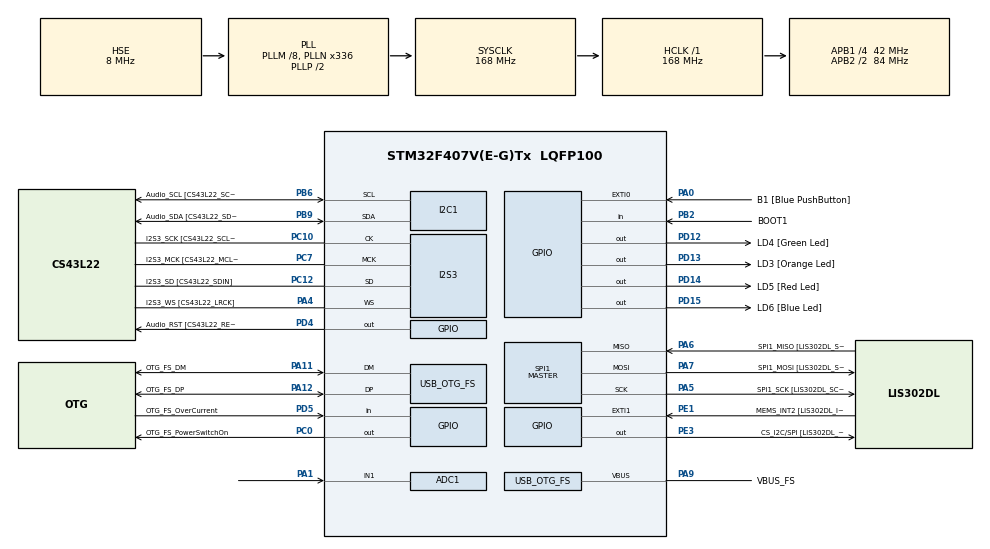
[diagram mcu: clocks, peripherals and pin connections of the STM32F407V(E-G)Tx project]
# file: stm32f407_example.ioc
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ADC1.Channel-1\#ChannelRegularConversion=ADC_CHANNEL_1
ADC1.NbrOfConversionFlag=1
ADC1.Rank-1\#ChannelRegularConversion=1
ADC1.SamplingTime-1\#ChannelRegularConversion=ADC_SAMPLETIME_3CYCLES
ADC1.master=1
I2S3.AudioFreq-Half_Duplex_Master=I2S_AUDIOFREQ_96K
I2S3.ErrorAudioFreq=-2.34 %
I2S3.ErrorAudioFreq-Half_Duplex_Master=0.8 %
I2S3.FullDuplexMode=I2S_FULLDUPLEXMODE_DISABLE
I2S3.Instance=SPI$Index
I2S3.RealAudioFreq=93.75 KHz
I2S3.RealAudioFreq-Half_Duplex_Master=96.774 KHz
I2S3.VirtualMode=I2S_MODE_MASTER
Mcu.Family=STM32F4
Mcu.Name=STM32F407V(E-G)Tx
Mcu.Package=LQFP100
NVIC.OTG_FS_IRQn=true\:0\:0\:false\:false\:true\:true\:true\:true
NVIC.PriorityGroup=NVIC_PRIORITYGROUP_0
PA0-WKUP.GPIO_Label=B1 [Blue PushButton]
PA0-WKUP.GPIO_ModeDefaultEXTI=GPIO_MODE_EVT_RISING
PA0-WKUP.GPIO_PuPd=GPIO_NOPULL
PA0-WKUP.Signal=GPXTI0
PA1.Signal=ADCx_IN1
PA10.GPIO_Label=OTG_FS_ID
PA10.GPIO_Mode=GPIO_MODE_AF_PP
PA10.GPIO_PuPd=GPIO_NOPULL
PA10.GPIO_Speed=GPIO_SPEED_FREQ_LOW
PA10.Signal=USB_OTG_FS_ID
PA11.GPIO_Label=OTG_FS_DM
PA11.GPIO_Mode=GPIO_MODE_AF_PP
PA11.GPIO_PuPd=GPIO_NOPULL
PA11.GPIO_Speed=GPIO_SPEED_FREQ_LOW
PA11.Mode=Host_Only
PA11.Signal=USB_OTG_FS_DM
PA12.GPIO_Label=OTG_FS_DP
PA12.GPIO_Mode=GPIO_MODE_AF_PP
PA12.GPIO_PuPd=GPIO_NOPULL
PA12.GPIO_Speed=GPIO_SPEED_FREQ_LOW
PA12.Mode=Host_Only
PA12.Signal=USB_OTG_FS_DP
PA13.GPIO_Label=SWDIO
PA13.Mode=Serial_Wire
PA13.Signal=SYS_JTMS-SWDIO
PA14.GPIO_Label=SWCLK
PA14.Mode=Serial_Wire
PA14.Signal=SYS_JTCK-SWCLK
PA4.GPIO_Label=I2S3_WS [CS43L22_LRCK]
PA4.GPIO_Mode=GPIO_MODE_AF_PP
PA4.GPIO_PuPd=GPIO_NOPULL
PA4.GPIO_Speed=GPIO_SPEED_FREQ_LOW
PA4.Mode=Half_Duplex_Master
PA4.Signal=I2S3_WS
PA5.GPIO_Label=SPI1_SCK [LIS302DL_SCL/SPC]
PA5.GPIO_Mode=GPIO_MODE_AF_PP
PA5.GPIO_PuPd=GPIO_NOPULL
PA5.GPIO_Speed=GPIO_SPEED_FREQ_LOW
PA5.Mode=Full_Duplex_Master
PA5.Signal=SPI1_SCK
PA6.GPIO_Label=SPI1_MISO [LIS302DL_SDO]
PA6.GPIO_Mode=GPIO_MODE_AF_PP
PA6.GPIO_PuPd=GPIO_NOPULL
PA6.GPIO_Speed=GPIO_SPEED_FREQ_LOW
PA6.Mode=Full_Duplex_Master
PA6.Signal=SPI1_MISO
PA7.GPIO_Label=SPI1_MOSI [LIS302DL_SDA/SDI/SDO]
PA7.GPIO_Mode=GPIO_MODE_AF_PP
PA7.GPIO_PuPd=GPIO_NOPULL
PA7.GPIO_Speed=GPIO_SPEED_FREQ_LOW
PA7.Mode=Full_Duplex_Master
PA7.Signal=SPI1_MOSI
PA9.GPIO_Label=VBUS_FS
PA9.GPIO_Mode=GPIO_MODE_INPUT
PA9.GPIO_PuPd=GPIO_NOPULL
PA9.Mode=Activate_VBUS
PA9.Signal=USB_OTG_FS_VBUS
PB10.GPIO_Label=CLK_IN [MP45DT02_CLK]
PB10.GPIO_Mode=GPIO_MODE_AF_PP
PB10.GPIO_PuPd=GPIO_NOPULL
PB10.GPIO_Speed=GPIO_SPEED_FREQ_LOW
PB10.Signal=I2S2_CK
PB2.GPIO_Label=BOOT1
PB2.GPIO_Mode=GPIO_MODE_INPUT
PB2.GPIO_PuPd=GPIO_NOPULL
PB2.Signal=GPIO_Input
PB3.GPIO_Label=SWO
PB3.Signal=SYS_JTDO-SWO
PB6.GPIO_Label=Audio_SCL [CS43L22_SCL]
PB6.GPIO_Mode=GPIO_MODE_AF_OD
PB6.GPIO_Pu=GPIO_PULLUP
PB6.GPIO_PuPd=GPIO_NOPULL
PB6.GPIO_Speed=GPIO_SPEED_FREQ_LOW
PB6.Mode=I2C
PB6.Signal=I2C1_SCL
PB9.GPIO_Label=Audio_SDA [CS43L22_SDA]
PB9.GPIO_Mode=GPIO_MODE_AF_OD
PB9.GPIO_Pu=GPIO_PULLUP
PB9.GPIO_PuPd=GPIO_NOPULL
PB9.GPIO_Speed=GPIO_SPEED_FREQ_LOW
PB9.Mode=I2C
PB9.Signal=I2C1_SDA
PC0.GPIO_Label=OTG_FS_PowerSwitchOn
PC0.GPIO_PuPd=GPIO_NOPULL
PC0.GPIO_Speed=GPIO_SPEED_FREQ_LOW
PC0.PinState=GPIO_PIN_SET
PC0.Signal=GPIO_Output
PC10.GPIO_Label=I2S3_SCK [CS43L22_SCLK]
PC10.GPIO_Mode=GPIO_MODE_AF_PP
PC10.GPIO_PuPd=GPIO_NOPULL
PC10.GPIO_Speed=GPIO_SPEED_FREQ_LOW
PC10.Mode=Half_Duplex_Master
PC10.Signal=I2S3_CK
PC12.GPIO_Label=I2S3_SD [CS43L22_SDIN]
PC12.GPIO_Mode=GPIO_MODE_AF_PP
PC12.GPIO_PuPd=GPIO_NOPULL
PC12.GPIO_Speed=GPIO_SPEED_FREQ_LOW
PC12.Mode=Half_Duplex_Master
PC12.Signal=I2S3_SD
PC14-OSC32_IN.GPIO_Label=PC14-OSC32_IN
PC14-OSC32_IN.Mode=LSE-External-Oscillator
PC14-OSC32_IN.Signal=RCC_OSC32_IN
PC15-OSC32_OUT.GPIO_Label=PC15-OSC32_OUT
PC15-OSC32_OUT.Mode=LSE-External-Oscillator
PC15-OSC32_OUT.Signal=RCC_OSC32_OUT
PC3.GPIO_Label=PDM_OUT [MP45DT02_DOUT]
PC3.GPIO_Mode=GPIO_MODE_AF_PP
PC3.GPIO_PuPd=GPIO_NOPULL
PC3.GPIO_Speed=GPIO_SPEED_FREQ_LOW
PC3.Signal=I2S2_SD
PC7.GPIO_Label=I2S3_MCK [CS43L22_MCLK]
PC7.GPIO_Mode=GPIO_MODE_AF_PP
PC7.GPIO_PuPd=GPIO_NOPULL
PC7.GPIO_Speed=GPIO_SPEED_FREQ_LOW
PC7.Mode=Master_Clock_Activated
PC7.Signal=I2S3_MCK
PD12.GPIO_Label=LD4 [Green Led]
PD12.GPIO_PuPd=GPIO_NOPULL
PD12.GPIO_Speed=GPIO_SPEED_FREQ_LOW
PD12.Signal=GPIO_Output
PD13.GPIO_Label=LD3 [Orange Led]
PD13.GPIO_PuPd=GPIO_NOPULL
PD13.GPIO_Speed=GPIO_SPEED_FREQ_LOW
PD13.Signal=GPIO_Output
PD14.GPIO_Label=LD5 [Red Led]
PD14.GPIO_PuPd=GPIO_NOPULL
PD14.GPIO_Speed=GPIO_SPEED_FREQ_LOW
PD14.Signal=GPIO_Output
PD15.GPIO_Label=LD6 [Blue Led]
PD15.GPIO_PuPd=GPIO_NOPULL
PD15.GPIO_Speed=GPIO_SPEED_FREQ_LOW
PD15.Signal=GPIO_Output
PD4.GPIO_Label=Audio_RST [CS43L22_RESET]
PD4.GPIO_PuPd=GPIO_NOPULL
PD4.GPIO_Speed=GPIO_SPEED_FREQ_LOW
PD4.Signal=GPIO_Output
PD5.GPIO_Label=OTG_FS_OverCurrent
PD5.GPIO_Mode=GPIO_MODE_INPUT
PD5.GPIO_PuPd=GPIO_NOPULL
PD5.Signal=GPIO_Input
PE1.GPIO_Label=MEMS_INT2 [LIS302DL_INT2]
PE1.GPIO_ModeDefaultEXTI=GPIO_MODE_EVT_RISING
PE1.GPIO_PuPd=GPIO_NOPULL
PE1.Signal=GPXTI1
PE3.GPIO_Label=CS_I2C/SPI [LIS302DL_CS_I2C/SPI]
PE3.GPIO_PuPd=GPIO_NOPULL
PE3.GPIO_Speed=GPIO_SPEED_FREQ_LOW
PE3.Signal=GPIO_Output
PH0-OSC_IN.GPIO_Label=PH0-OSC_IN
PH0-OSC_IN.Mode=HSE-External-Oscillator
PH0-OSC_IN.Signal=RCC_OSC_IN
PH1-OSC_OUT.GPIO_Label=PH1-OSC_OUT
PH1-OSC_OUT.Mode=HSE-External-Oscillator
PH1-OSC_OUT.Signal=RCC_OSC_OUT
ProjectManager.HeapSize=0x200
ProjectManager.StackSize=0x400
ProjectManager.TargetToolchain=STM32CubeIDE
RCC.48MHZClocksFreq_Value=48000000
RCC.AHBFreq_Value=168000000
RCC.APB1CLKDivider=RCC_HCLK_DIV4
RCC.APB1Freq_Value=42000000
RCC.APB1TimFreq_Value=84000000
RCC.APB2CLKDivider=RCC_HCLK_DIV2
RCC.APB2Freq_Value=84000000
RCC.APB2TimFreq_Value=168000000
RCC.CortexFreq_Value=168000000
RCC.HCLKFreq_Value=168000000
RCC.HSE_VALUE=8000000
RCC.HSI_VALUE=16000000
RCC.PLLM=8
RCC.PLLN=336
RCC.PLLQ=7
RCC.SYSCLKFreq_VALUE=168000000
RCC.SYSCLKSource=RCC_SYSCLKSOURCE_PLLCLK
RCC.VCOOutputFreq_Value=336000000
SH.ADCx_IN1.0=ADC1_IN1,IN1
SPI1.BaudRatePrescaler-Full_Duplex_Master=SPI_BAUDRATEPRESCALER_2
SPI1.CalculateBaudRate-Full_Duplex_Master=42.0 MBits/s
SPI1.Direction=SPI_DIRECTION_2LINES
SPI1.Mode=SPI_MODE_MASTER
SPI1.Mode-Full_Duplex_Master=SPI_MODE_MASTER
SPI1.VirtualType=VM_MASTER
USB_HOST.BSP.number=1
USB_HOST.USBH_HandleTypeDef-CDC_FS=hUsbHostFS
USB_HOST.VirtualModeFS=Cdc
USB_HOST0.BSP.STBoard=false
USB_HOST0.BSP.api=Unknown
USB_HOST0.BSP.instance=PC0
USB_HOST0.BSP.ip=GPIO
USB_HOST0.BSP.mode=Output
USB_HOST0.BSP.name=Drive_VBUS_FS
USB_HOST0.BSP.solution=PC0
USB_OTG_FS.VirtualMode=Host_Only
USB_OTG_FS.phy_itface=HCD_PHY_EMBEDDED
VP_USB_HOST_VS_USB_HOST_CDC_FS.Mode=CDC_FS
board=STM32F407G-DISC1

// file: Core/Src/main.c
/* USER CODE BEGIN Header */
/**
 ******************************************************************************
 * @file           : main.c
 * @brief          : Main program body
 ******************************************************************************
 * @attention
 *
 * Copyright (c) 2026 STMicroelectronics.
 * All rights reserved.
 *
 * This software is licensed under terms that can be found in the LICENSE file
 * in the root directory of this software component.
 * If no LICENSE file comes with this software, it is provided AS-IS.
 *
 ******************************************************************************
 */
/* USER CODE END Header */
#include "main.h"
#include "usb_host.h"

/* USER CODE BEGIN Includes */
#include <string.h>
/* USER CODE END Includes */

/* USER CODE BEGIN PD */
#define TMP117_ADDR 0x25
#define SPI_FLASH_READ 0x03
#define SPI_FLASH_WRITE 0x02
#define SPI_FLASH_WREN 0x06
#define SPI_FLASH_RDSR 0x05

/* Emulica Test Mode Configuration */
#define EMULICA_TEST_MAGIC_ADDR 0x10000000
#define EMULICA_TEST_MAGIC_VAL 0xCAFEBABE
#define EMULICA_IS_TESTING                                                     \
  (*(volatile uint32_t *)EMULICA_TEST_MAGIC_ADDR == EMULICA_TEST_MAGIC_VAL)

#define I2C_VAL_TEST 0x74
#define SPI_VAL_TEST 0x06
/* USER CODE END PD */

ADC_HandleTypeDef hadc1;

I2C_HandleTypeDef hi2c1;

I2S_HandleTypeDef hi2s3;

SPI_HandleTypeDef hspi1;

/* USER CODE BEGIN PV */
uint16_t temperature_raw = 0;
uint8_t spi_tx_buffer[32];
uint8_t spi_rx_buffer[32];
/* USER CODE END PV */

void SystemClock_Config(void);
static void MX_GPIO_Init(void);
static void MX_I2C1_Init(void);
static void MX_I2S3_Init(void);
static void MX_SPI1_Init(void);
static void MX_ADC1_Init(void);
void MX_USB_HOST_Process(void);

/* USER CODE BEGIN PFP */
void I2C_Demo(void);
void ADC_Demo(void);
void SPI_Demo(void);
/* USER CODE END PFP */

int main(void)
{

  /* MCU Configuration--------------------------------------------------------*/

  /* Reset of all peripherals, Initializes the Flash interface and the Systick. */
  HAL_Init();

  /* Configure the system clock */
  SystemClock_Config();

  /* Initialize all configured peripherals */
  MX_GPIO_Init();
  MX_I2C1_Init();
  MX_I2S3_Init();
  MX_SPI1_Init();
  MX_USB_HOST_Init();
  MX_ADC1_Init();
  /* USER CODE BEGIN 2 */
  // Initialize demo
  HAL_GPIO_WritePin(LD4_GPIO_Port, LD4_Pin, GPIO_PIN_SET); // Green LED on
  /* USER CODE END 2 */

  /* Infinite loop */
  while (1) {
    MX_USB_HOST_Process();

    /* USER CODE BEGIN 3 */
    I2C_Demo();
    ADC_Demo();
    SPI_Demo();

    HAL_GPIO_TogglePin(LD3_GPIO_Port, LD3_Pin);
    HAL_Delay(1000);
  }
  /* USER CODE END 3 */
}

void SystemClock_Config(void)
{
  RCC_OscInitTypeDef RCC_OscInitStruct = {0};
  RCC_ClkInitTypeDef RCC_ClkInitStruct = {0};

  /** Configure the main internal regulator output voltage
  */
  __HAL_RCC_PWR_CLK_ENABLE();
  __HAL_PWR_VOLTAGESCALING_CONFIG(PWR_REGULATOR_VOLTAGE_SCALE1);

  /** Initializes the RCC Oscillators according to the specified parameters
  * in the RCC_OscInitTypeDef structure.
  */
  RCC_OscInitStruct.OscillatorType = RCC_OSCILLATORTYPE_HSE;
  RCC_OscInitStruct.HSEState = RCC_HSE_ON;
  RCC_OscInitStruct.PLL.PLLState = RCC_PLL_ON;
  RCC_OscInitStruct.PLL.PLLSource = RCC_PLLSOURCE_HSE;
  RCC_OscInitStruct.PLL.PLLM = 8;
  RCC_OscInitStruct.PLL.PLLN = 336;
  RCC_OscInitStruct.PLL.PLLP = RCC_PLLP_DIV2;
  RCC_OscInitStruct.PLL.PLLQ = 7;
  if (HAL_RCC_OscConfig(&RCC_OscInitStruct) != HAL_OK)
  {
    Error_Handler();
  }

  /** Initializes the CPU, AHB and APB buses clocks
  */
  RCC_ClkInitStruct.ClockType = RCC_CLOCKTYPE_HCLK|RCC_CLOCKTYPE_SYSCLK
                              |RCC_CLOCKTYPE_PCLK1|RCC_CLOCKTYPE_PCLK2;
  RCC_ClkInitStruct.SYSCLKSource = RCC_SYSCLKSOURCE_PLLCLK;
  RCC_ClkInitStruct.AHBCLKDivider = RCC_SYSCLK_DIV1;
  RCC_ClkInitStruct.APB1CLKDivider = RCC_HCLK_DIV4;
  RCC_ClkInitStruct.APB2CLKDivider = RCC_HCLK_DIV2;

  if (HAL_RCC_ClockConfig(&RCC_ClkInitStruct, FLASH_LATENCY_5) != HAL_OK)
  {
    Error_Handler();
  }
}

static void MX_ADC1_Init(void)
{

  ADC_ChannelConfTypeDef sConfig = {0};

  /** Configure the global features of the ADC (Clock, Resolution, Data Alignment and number of conversion)
  */
  hadc1.Instance = ADC1;
  hadc1.Init.ClockPrescaler = ADC_CLOCK_SYNC_PCLK_DIV4;
  hadc1.Init.Resolution = ADC_RESOLUTION_12B;
  hadc1.Init.ScanConvMode = DISABLE;
  hadc1.Init.ContinuousConvMode = DISABLE;
  hadc1.Init.DiscontinuousConvMode = DISABLE;
  hadc1.Init.ExternalTrigConvEdge = ADC_EXTERNALTRIGCONVEDGE_NONE;
  hadc1.Init.ExternalTrigConv = ADC_SOFTWARE_START;
  hadc1.Init.DataAlign = ADC_DATAALIGN_RIGHT;
  hadc1.Init.NbrOfConversion = 1;
  hadc1.Init.DMAContinuousRequests = DISABLE;
  hadc1.Init.EOCSelection = ADC_EOC_SINGLE_CONV;
  if (HAL_ADC_Init(&hadc1) != HAL_OK)
  {
    Error_Handler();
  }

  /** Configure for the selected ADC regular channel its corresponding rank in the sequencer and its sample time.
  */
  sConfig.Channel = ADC_CHANNEL_1;
  sConfig.Rank = 1;
  sConfig.SamplingTime = ADC_SAMPLETIME_3CYCLES;
  if (HAL_ADC_ConfigChannel(&hadc1, &sConfig) != HAL_OK)
  {
    Error_Handler();
  }

}

static void MX_I2C1_Init(void)
{

  hi2c1.Instance = I2C1;
  hi2c1.Init.ClockSpeed = 100000;
  hi2c1.Init.DutyCycle = I2C_DUTYCYCLE_2;
  hi2c1.Init.OwnAddress1 = 0;
  hi2c1.Init.AddressingMode = I2C_ADDRESSINGMODE_7BIT;
  hi2c1.Init.DualAddressMode = I2C_DUALADDRESS_DISABLE;
  hi2c1.Init.OwnAddress2 = 0;
  hi2c1.Init.GeneralCallMode = I2C_GENERALCALL_DISABLE;
  hi2c1.Init.NoStretchMode = I2C_NOSTRETCH_DISABLE;
  if (HAL_I2C_Init(&hi2c1) != HAL_OK)
  {
    Error_Handler();
  }

}

static void MX_I2S3_Init(void)
{

  hi2s3.Instance = SPI3;
  hi2s3.Init.Mode = I2S_MODE_MASTER_TX;
  hi2s3.Init.Standard = I2S_STANDARD_PHILIPS;
  hi2s3.Init.DataFormat = I2S_DATAFORMAT_16B;
  hi2s3.Init.MCLKOutput = I2S_MCLKOUTPUT_ENABLE;
  hi2s3.Init.AudioFreq = I2S_AUDIOFREQ_96K;
  hi2s3.Init.CPOL = I2S_CPOL_LOW;
  hi2s3.Init.ClockSource = I2S_CLOCK_PLL;
  hi2s3.Init.FullDuplexMode = I2S_FULLDUPLEXMODE_DISABLE;
  if (HAL_I2S_Init(&hi2s3) != HAL_OK)
  {
    Error_Handler();
  }

}

static void MX_SPI1_Init(void)
{

  /* SPI1 parameter configuration*/
  hspi1.Instance = SPI1;
  hspi1.Init.Mode = SPI_MODE_MASTER;
  hspi1.Init.Direction = SPI_DIRECTION_2LINES;
  hspi1.Init.DataSize = SPI_DATASIZE_8BIT;
  hspi1.Init.CLKPolarity = SPI_POLARITY_LOW;
  hspi1.Init.CLKPhase = SPI_PHASE_1EDGE;
  hspi1.Init.NSS = SPI_NSS_SOFT;
  hspi1.Init.BaudRatePrescaler = SPI_BAUDRATEPRESCALER_2;
  hspi1.Init.FirstBit = SPI_FIRSTBIT_MSB;
  hspi1.Init.TIMode = SPI_TIMODE_DISABLE;
  hspi1.Init.CRCCalculation = SPI_CRCCALCULATION_DISABLE;
  hspi1.Init.CRCPolynomial = 10;
  if (HAL_SPI_Init(&hspi1) != HAL_OK)
  {
    Error_Handler();
  }

}

static void MX_GPIO_Init(void)
{
  GPIO_InitTypeDef GPIO_InitStruct = {0};

  /* GPIO Ports Clock Enable */
  __HAL_RCC_GPIOE_CLK_ENABLE();
  __HAL_RCC_GPIOC_CLK_ENABLE();
  __HAL_RCC_GPIOH_CLK_ENABLE();
  __HAL_RCC_GPIOA_CLK_ENABLE();
  __HAL_RCC_GPIOB_CLK_ENABLE();
  __HAL_RCC_GPIOD_CLK_ENABLE();

  /*Configure GPIO pin Output Level */
  HAL_GPIO_WritePin(CS_I2C_SPI_GPIO_Port, CS_I2C_SPI_Pin, GPIO_PIN_RESET);

  /*Configure GPIO pin Output Level */
  HAL_GPIO_WritePin(OTG_FS_PowerSwitchOn_GPIO_Port, OTG_FS_PowerSwitchOn_Pin, GPIO_PIN_SET);

  /*Configure GPIO pin Output Level */
  HAL_GPIO_WritePin(GPIOD, LD4_Pin|LD3_Pin|LD5_Pin|LD6_Pin
                          |Audio_RST_Pin, GPIO_PIN_RESET);

  /*Configure GPIO pin : CS_I2C_SPI_Pin */
  GPIO_InitStruct.Pin = CS_I2C_SPI_Pin;
  GPIO_InitStruct.Mode = GPIO_MODE_OUTPUT_PP;
  GPIO_InitStruct.Pull = GPIO_NOPULL;
  GPIO_InitStruct.Speed = GPIO_SPEED_FREQ_LOW;
  HAL_GPIO_Init(CS_I2C_SPI_GPIO_Port, &GPIO_InitStruct);

  /*Configure GPIO pin : OTG_FS_PowerSwitchOn_Pin */
  GPIO_InitStruct.Pin = OTG_FS_PowerSwitchOn_Pin;
  GPIO_InitStruct.Mode = GPIO_MODE_OUTPUT_PP;
  GPIO_InitStruct.Pull = GPIO_NOPULL;
  GPIO_InitStruct.Speed = GPIO_SPEED_FREQ_LOW;
  HAL_GPIO_Init(OTG_FS_PowerSwitchOn_GPIO_Port, &GPIO_InitStruct);

  /*Configure GPIO pin : PDM_OUT_Pin */
  GPIO_InitStruct.Pin = PDM_OUT_Pin;
  GPIO_InitStruct.Mode = GPIO_MODE_AF_PP;
  GPIO_InitStruct.Pull = GPIO_NOPULL;
  GPIO_InitStruct.Speed = GPIO_SPEED_FREQ_LOW;
  GPIO_InitStruct.Alternate = GPIO_AF5_SPI2;
  HAL_GPIO_Init(PDM_OUT_GPIO_Port, &GPIO_InitStruct);

  /*Configure GPIO pin : B1_Pin */
  GPIO_InitStruct.Pin = B1_Pin;
  GPIO_InitStruct.Mode = GPIO_MODE_EVT_RISING;
  GPIO_InitStruct.Pull = GPIO_NOPULL;
  HAL_GPIO_Init(B1_GPIO_Port, &GPIO_InitStruct);

  /*Configure GPIO pin : BOOT1_Pin */
  GPIO_InitStruct.Pin = BOOT1_Pin;
  GPIO_InitStruct.Mode = GPIO_MODE_INPUT;
  GPIO_InitStruct.Pull = GPIO_NOPULL;
  HAL_GPIO_Init(BOOT1_GPIO_Port, &GPIO_InitStruct);

  /*Configure GPIO pin : CLK_IN_Pin */
  GPIO_InitStruct.Pin = CLK_IN_Pin;
  GPIO_InitStruct.Mode = GPIO_MODE_AF_PP;
  GPIO_InitStruct.Pull = GPIO_NOPULL;
  GPIO_InitStruct.Speed = GPIO_SPEED_FREQ_LOW;
  GPIO_InitStruct.Alternate = GPIO_AF5_SPI2;
  HAL_GPIO_Init(CLK_IN_GPIO_Port, &GPIO_InitStruct);

  /*Configure GPIO pins : LD4_Pin LD3_Pin LD5_Pin LD6_Pin
                           Audio_RST_Pin */
  GPIO_InitStruct.Pin = LD4_Pin|LD3_Pin|LD5_Pin|LD6_Pin
                          |Audio_RST_Pin;
  GPIO_InitStruct.Mode = GPIO_MODE_OUTPUT_PP;
  GPIO_InitStruct.Pull = GPIO_NOPULL;
  GPIO_InitStruct.Speed = GPIO_SPEED_FREQ_LOW;
  HAL_GPIO_Init(GPIOD, &GPIO_InitStruct);

  /*Configure GPIO pin : OTG_FS_OverCurrent_Pin */
  GPIO_InitStruct.Pin = OTG_FS_OverCurrent_Pin;
  GPIO_InitStruct.Mode = GPIO_MODE_INPUT;
  GPIO_InitStruct.Pull = GPIO_NOPULL;
  HAL_GPIO_Init(OTG_FS_OverCurrent_GPIO_Port, &GPIO_InitStruct);

  /*Configure GPIO pin : MEMS_INT2_Pin */
  GPIO_InitStruct.Pin = MEMS_INT2_Pin;
  GPIO_InitStruct.Mode = GPIO_MODE_EVT_RISING;
  GPIO_InitStruct.Pull = GPIO_NOPULL;
  HAL_GPIO_Init(MEMS_INT2_GPIO_Port, &GPIO_InitStruct);

}

/* USER CODE BEGIN 4 */
void I2C_Demo(void) {
  uint8_t data = 0x77; // Default demo value

  if (EMULICA_IS_TESTING) {
    data = I2C_VAL_TEST;
  }

  // Simple I2C Transmit: Send data to address 0x25
  HAL_I2C_Master_Transmit(&hi2c1, TMP117_ADDR << 1, &data, 1, HAL_MAX_DELAY);

  // Toggle blue LED on successful I2C communication
  HAL_GPIO_TogglePin(LD6_GPIO_Port, LD6_Pin);
}

void ADC_Demo(void) {
  uint16_t adc_value;
  uint8_t adc_bytes[2];

  if (HAL_ADC_Start(&hadc1) != HAL_OK) {
    Error_Handler();
  }

  if (HAL_ADC_PollForConversion(&hadc1, HAL_MAX_DELAY) != HAL_OK) {
    Error_Handler();
  }

  adc_value = HAL_ADC_GetValue(&hadc1) & 0x0FFF;
  adc_bytes[0] = (uint8_t)(adc_value >> 8);
  adc_bytes[1] = (uint8_t)(adc_value & 0xFF);

  HAL_I2C_Master_Transmit(&hi2c1, TMP117_ADDR << 1, adc_bytes, 2, HAL_MAX_DELAY);

  if (HAL_ADC_Stop(&hadc1) != HAL_OK) {
    Error_Handler();
  }
}

void SPI_Demo(void) {
  // SPI Flash write example: Send 0x000523 to address 0x0000CA
  memset(spi_tx_buffer, 0, sizeof(spi_tx_buffer));

  // Write Enable command: 0x06 (Needed before Page Program)
  spi_tx_buffer[0] = 0x06;
  if (EMULICA_IS_TESTING) {
    spi_tx_buffer[0] = SPI_VAL_TEST;
  }
  HAL_GPIO_WritePin(CS_I2C_SPI_GPIO_Port, CS_I2C_SPI_Pin, GPIO_PIN_RESET);
  HAL_SPI_Transmit(&hspi1, spi_tx_buffer, 1, HAL_MAX_DELAY);
  HAL_GPIO_WritePin(CS_I2C_SPI_GPIO_Port, CS_I2C_SPI_Pin, GPIO_PIN_SET);

  HAL_Delay(1); // Small delay to latch the write enable

  // Page Program command: 0x02 + 24-bit address + data payload
  spi_tx_buffer[0] = 0x02; // Page Program command
  spi_tx_buffer[1] = 0x00; // Address byte 1 (MSB)
  spi_tx_buffer[2] = 0x00; // Address byte 2
  spi_tx_buffer[3] = 0xCA; // Address byte 3 (LSB)
  spi_tx_buffer[4] = 0x00; // Data byte 1
  spi_tx_buffer[5] = 0x15; // Data byte 2
  spi_tx_buffer[6] = 0x21; // Data byte 3

  // CS low
  HAL_GPIO_WritePin(CS_I2C_SPI_GPIO_Port, CS_I2C_SPI_Pin, GPIO_PIN_RESET);

  // Send write command and data
  HAL_SPI_Transmit(&hspi1, spi_tx_buffer, 7, HAL_MAX_DELAY);

  // CS high
  HAL_GPIO_WritePin(CS_I2C_SPI_GPIO_Port, CS_I2C_SPI_Pin, GPIO_PIN_SET);

  // Toggle orange LED on successful SPI communication
  HAL_GPIO_TogglePin(LD5_GPIO_Port, LD5_Pin);
}
/* USER CODE END 4 */

void Error_Handler(void)
{
  __disable_irq();
  while (1) {
  }
}

#ifdef  USE_FULL_ASSERT
/**
  * @brief  Reports the name of the source file and the source line number
  *         where the assert_param error has occurred.
  * @param  file: pointer to the source file name
  * @param  line: assert_param error line source number
  * @retval None
  */
void assert_failed(uint8_t *file, uint32_t line)
{
  /* USER CODE BEGIN 6 */
  /* User can add his own implementation to report the file name and line
     number, ex: printf("Wrong parameters value: file %s on line %d\r\n", file,
     line) */
  /* USER CODE END 6 */
}
#endif /* USE_FULL_ASSERT */
